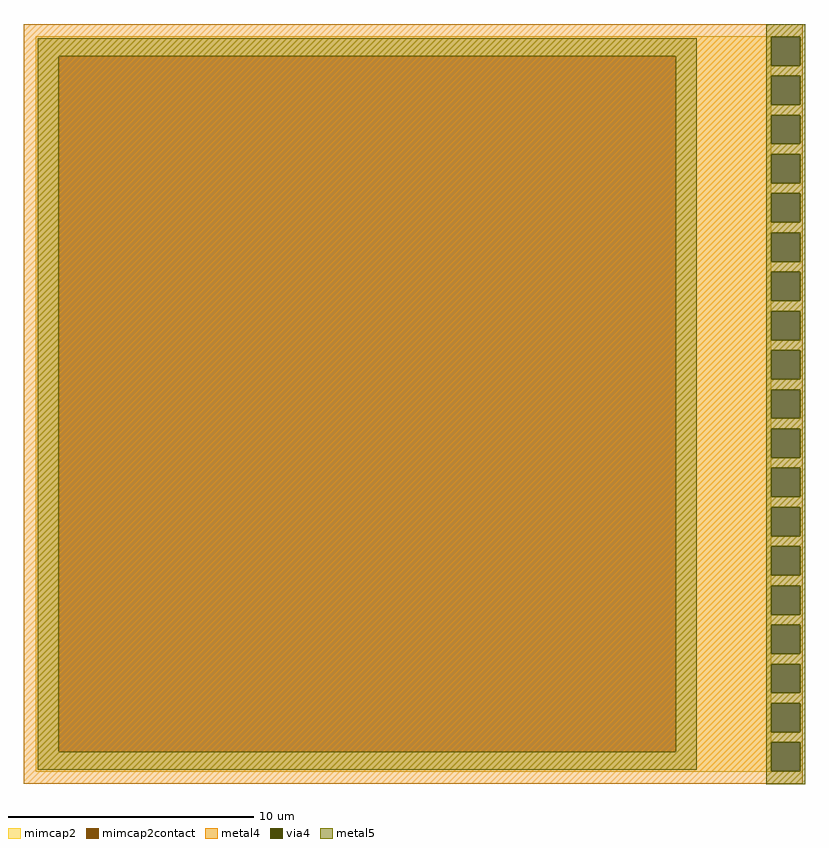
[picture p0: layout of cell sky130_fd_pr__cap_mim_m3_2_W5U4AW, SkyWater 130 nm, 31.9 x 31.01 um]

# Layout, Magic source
magic
tech sky130A
magscale 1 2
<< metal4 >>
rect -3179 2998 3179 3100
rect -3179 2762 2923 2998
rect 3159 2762 3179 2998
rect -3179 2678 3179 2762
rect -3179 2442 2923 2678
rect 3159 2442 3179 2678
rect -3179 2358 3179 2442
rect -3179 2122 2923 2358
rect 3159 2122 3179 2358
rect -3179 2038 3179 2122
rect -3179 1802 2923 2038
rect 3159 1802 3179 2038
rect -3179 1718 3179 1802
rect -3179 1482 2923 1718
rect 3159 1482 3179 1718
rect -3179 1398 3179 1482
rect -3179 1162 2923 1398
rect 3159 1162 3179 1398
rect -3179 1078 3179 1162
rect -3179 842 2923 1078
rect 3159 842 3179 1078
rect -3179 758 3179 842
rect -3179 522 2923 758
rect 3159 522 3179 758
rect -3179 438 3179 522
rect -3179 202 2923 438
rect 3159 202 3179 438
rect -3179 118 3179 202
rect -3179 -118 2923 118
rect 3159 -118 3179 118
rect -3179 -202 3179 -118
rect -3179 -438 2923 -202
rect 3159 -438 3179 -202
rect -3179 -522 3179 -438
rect -3179 -758 2923 -522
rect 3159 -758 3179 -522
rect -3179 -842 3179 -758
rect -3179 -1078 2923 -842
rect 3159 -1078 3179 -842
rect -3179 -1162 3179 -1078
rect -3179 -1398 2923 -1162
rect 3159 -1398 3179 -1162
rect -3179 -1482 3179 -1398
rect -3179 -1718 2923 -1482
rect 3159 -1718 3179 -1482
rect -3179 -1802 3179 -1718
rect -3179 -2038 2923 -1802
rect 3159 -2038 3179 -1802
rect -3179 -2122 3179 -2038
rect -3179 -2358 2923 -2122
rect 3159 -2358 3179 -2122
rect -3179 -2442 3179 -2358
rect -3179 -2678 2923 -2442
rect 3159 -2678 3179 -2442
rect -3179 -2762 3179 -2678
rect -3179 -2998 2923 -2762
rect 3159 -2998 3179 -2762
rect -3179 -3100 3179 -2998
<< via4 >>
rect 2923 2762 3159 2998
rect 2923 2442 3159 2678
rect 2923 2122 3159 2358
rect 2923 1802 3159 2038
rect 2923 1482 3159 1718
rect 2923 1162 3159 1398
rect 2923 842 3159 1078
rect 2923 522 3159 758
rect 2923 202 3159 438
rect 2923 -118 3159 118
rect 2923 -438 3159 -202
rect 2923 -758 3159 -522
rect 2923 -1078 3159 -842
rect 2923 -1398 3159 -1162
rect 2923 -1718 3159 -1482
rect 2923 -2038 3159 -1802
rect 2923 -2358 3159 -2122
rect 2923 -2678 3159 -2442
rect 2923 -2998 3159 -2762
<< mimcap2 >>
rect -3079 2838 2921 3000
rect -3079 -2838 -2893 2838
rect 2143 -2838 2921 2838
rect -3079 -3000 2921 -2838
<< mimcap2contact >>
rect -2893 -2838 2143 2838
<< metal5 >>
rect 2881 2998 3201 3101
rect -3063 2838 2313 2984
rect -3063 -2838 -2893 2838
rect 2143 -2838 2313 2838
rect -3063 -2984 2313 -2838
rect 2881 2762 2923 2998
rect 3159 2762 3201 2998
rect 2881 2678 3201 2762
rect 2881 2442 2923 2678
rect 3159 2442 3201 2678
rect 2881 2358 3201 2442
rect 2881 2122 2923 2358
rect 3159 2122 3201 2358
rect 2881 2038 3201 2122
rect 2881 1802 2923 2038
rect 3159 1802 3201 2038
rect 2881 1718 3201 1802
rect 2881 1482 2923 1718
rect 3159 1482 3201 1718
rect 2881 1398 3201 1482
rect 2881 1162 2923 1398
rect 3159 1162 3201 1398
rect 2881 1078 3201 1162
rect 2881 842 2923 1078
rect 3159 842 3201 1078
rect 2881 758 3201 842
rect 2881 522 2923 758
rect 3159 522 3201 758
rect 2881 438 3201 522
rect 2881 202 2923 438
rect 3159 202 3201 438
rect 2881 118 3201 202
rect 2881 -118 2923 118
rect 3159 -118 3201 118
rect 2881 -202 3201 -118
rect 2881 -438 2923 -202
rect 3159 -438 3201 -202
rect 2881 -522 3201 -438
rect 2881 -758 2923 -522
rect 3159 -758 3201 -522
rect 2881 -842 3201 -758
rect 2881 -1078 2923 -842
rect 3159 -1078 3201 -842
rect 2881 -1162 3201 -1078
rect 2881 -1398 2923 -1162
rect 3159 -1398 3201 -1162
rect 2881 -1482 3201 -1398
rect 2881 -1718 2923 -1482
rect 3159 -1718 3201 -1482
rect 2881 -1802 3201 -1718
rect 2881 -2038 2923 -1802
rect 3159 -2038 3201 -1802
rect 2881 -2122 3201 -2038
rect 2881 -2358 2923 -2122
rect 3159 -2358 3201 -2122
rect 2881 -2442 3201 -2358
rect 2881 -2678 2923 -2442
rect 3159 -2678 3201 -2442
rect 2881 -2762 3201 -2678
rect 2881 -2998 2923 -2762
rect 3159 -2998 3201 -2762
rect 2881 -3101 3201 -2998
<< properties >>
string FIXED_BBOX -3179 -3100 3021 3100
<< end >>
